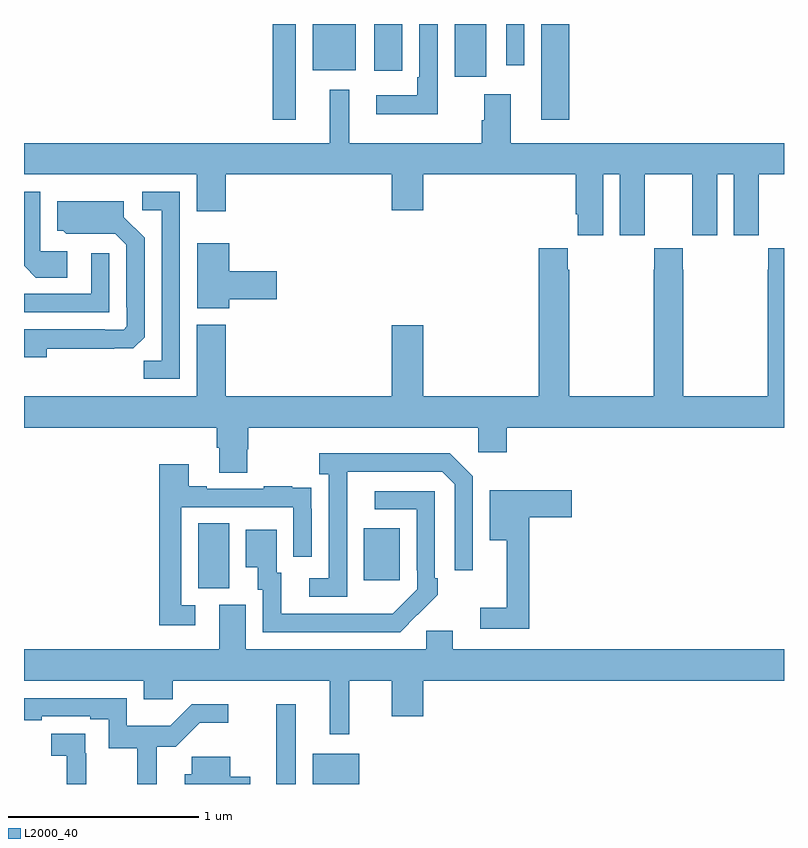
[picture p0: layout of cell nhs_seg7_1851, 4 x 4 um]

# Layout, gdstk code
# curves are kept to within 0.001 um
import gdstk
lib = gdstk.Library(unit=1e-6, precision=1e-09)
def R(c, l, rs):  # rectangles x0, y0, x1, y1
    for r in rs: c.add(gdstk.rectangle(r[:2], r[2:], *l))
def P(c, l, *ps):  # polygons
    for p in ps: c.add(gdstk.Polygon(p, *l))
L2000_40 = (2000, 40)

nhs_seg7_1851 = lib.new_cell('nhs_seg7_1851')
R(nhs_seg7_1851, L2000_40, [(236.327,1072,236.431,1072.42), (236.519,1072,236.764,1072.159), (235.916,1073.029,236.08,1073.372), (236.789,1073.073,236.977,1073.347), (236.31,1075.497,236.431,1076), (237.722,1075.497,237.869,1076), (237.266,1075.722,237.433,1076), (236.843,1075.755,236.992,1076), (236.519,1075.757,236.746,1076), (237.537,1075.782,237.633,1076)])
P(nhs_seg7_1851, L2000_40, [(237.177,1076),(237.081,1076),(237.081,1075.72),(237.069,1075.72),(237.069,1075.624),(236.853,1075.624),(236.853,1075.526),(237.177,1075.526)],
  [(238.048,1075.208),(238.136,1075.208),(238.136,1074.888),(238.266,1074.888),(238.266,1075),(238.267,1075),(238.267,1075.208),(238.517,1075.208),(238.517,1075),(238.518,1075),(238.518,1074.888),(238.648,1074.888),(238.648,1075.208),(238.736,1075.208),(238.736,1074.888),(238.866,1074.888),(238.866,1075),(238.867,1075),(238.867,1075.208),(239,1075.208),(239,1075.372),(237.562,1075.372),(237.562,1075.63),(237.422,1075.63),(237.422,1075.493),(237.41,1075.493),(237.41,1075.372),(236.713,1075.372),(236.713,1075.654),(236.609,1075.654),(236.609,1075.372),(235,1075.372),(235,1075.208),(235.91,1075.208),(235.91,1075.014),(236.063,1075.014),(236.063,1075.208),(236.936,1075.208),(236.936,1075.02),(237.1,1075.02),(237.1,1075.208),(237.905,1075.208),(237.905,1075),(237.914,1075),(237.914,1074.888),(238.048,1074.888)],
  [(235.821,1075.116),(235.623,1075.116),(235.623,1075.02),(235.725,1075.02),(235.725,1074.227),(235.63,1074.227),(235.63,1074.132),(235.821,1074.132)],
  [(235.228,1074.804),(235.086,1074.804),(235.086,1075.116),(235,1075.116),(235,1074.727),(235.063,1074.664),(235.228,1074.664)],
  [(235.119,1074.292),(235.576,1074.293),(235.635,1074.352),(235.635,1074.874),(235.525,1074.984),(235.525,1075.066),(235.175,1075.066),(235.175,1074.912),(235.206,1074.912),(235.222,1074.896),(235.479,1074.897),(235.539,1074.837),(235.539,1074.508),(235.542,1074.508),(235.542,1074.408),(235.524,1074.39),(235.424,1074.39),(235.424,1074.393),(235,1074.393),(235,1074.246),(235.119,1074.246)],
  [(236.08,1074.551),(236.329,1074.551),(236.329,1074.698),(236.08,1074.698),(236.08,1074.847),(235.913,1074.847),(235.913,1074.503),(236.08,1074.503)],
  [(236.175,1073.763),(236.18,1073.763),(236.18,1073.876),(237.39,1073.876),(237.39,1073.745),(237.542,1073.745),(237.542,1073.876),(239,1073.876),(239,1074.82),(238.917,1074.82),(238.917,1074.707),(238.915,1074.707),(238.915,1074.04),(238.47,1074.04),(238.47,1074.707),(238.467,1074.707),(238.467,1074.82),(238.317,1074.82),(238.317,1074.707),(238.315,1074.707),(238.315,1074.04),(237.87,1074.04),(237.87,1074.707),(237.863,1074.707),(237.863,1074.82),(237.71,1074.82),(237.71,1074.04),(237.1,1074.04),(237.1,1074.415),(236.936,1074.415),(236.936,1074.04),(236.063,1074.04),(236.063,1074.418),(235.91,1074.418),(235.91,1074.04),(235,1074.04),(235,1073.876),(236.015,1073.876),(236.015,1073.77),(236.027,1073.77),(236.027,1073.638),(236.175,1073.638)],
  [(235.449,1074.793),(235.353,1074.793),(235.353,1074.579),(235,1074.579),(235,1074.483),(235.449,1074.483)],
  [(236.7,1073.443),(236.701,1073.643),(237.201,1073.643),(237.267,1073.577),(237.267,1073.124),(237.363,1073.124),(237.363,1073.619),(237.242,1073.74),(236.553,1073.74),(236.553,1073.63),(236.604,1073.63),(236.604,1073.082),(236.502,1073.082),(236.502,1072.986),(236.7,1072.986)],
  [(235.9,1072.941),(235.827,1072.941),(235.827,1073.457),(236.418,1073.457),(236.418,1073.196),(236.514,1073.196),(236.514,1073.45),(236.513,1073.45),(236.513,1073.559),(236.411,1073.559),(236.411,1073.566),(236.263,1073.566),(236.263,1073.553),(235.963,1073.553),(235.963,1073.566),(235.867,1073.566),(235.867,1073.683),(235.711,1073.683),(235.711,1072.836),(235.9,1072.836)],
  [(237.659,1073.405),(237.883,1073.405),(237.883,1073.547),(237.452,1073.547),(237.452,1073.282),(237.542,1073.282),(237.542,1072.927),(237.402,1072.927),(237.402,1072.818),(237.659,1072.818)],
  [(237.071,1072.891),(237.072,1072.89),(237.177,1072.995),(237.177,1073.083),(237.162,1073.083),(237.162,1073.541),(236.847,1073.541),(236.847,1073.445),(237.066,1073.445),(237.066,1073.125),(237.069,1073.125),(237.069,1073.025),(236.941,1072.897),(236.353,1072.896),(236.353,1073.112),(236.329,1073.112),(236.329,1073.338),(236.168,1073.338),(236.168,1073.141),(236.231,1073.141),(236.231,1073.022),(236.256,1073.022),(236.256,1072.8),(236.98,1072.8)],
  [(236.713,1072.544),(236.936,1072.544),(236.936,1072.356),(237.1,1072.356),(237.1,1072.544),(239,1072.544),(239,1072.708),(237.256,1072.708),(237.256,1072.806),(237.117,1072.806),(237.117,1072.708),(236.167,1072.708),(236.167,1072.944),(236.027,1072.944),(236.027,1072.708),(235,1072.708),(235,1072.544),(235.631,1072.544),(235.631,1072.446),(235.783,1072.446),(235.783,1072.544),(236.609,1072.544),(236.609,1072.263),(236.713,1072.263)],
  [(235.699,1072.197),(235.799,1072.197),(235.925,1072.322),(236.074,1072.322),(236.074,1072.419),(235.884,1072.419),(235.771,1072.306),(235.542,1072.306),(235.542,1072.452),(235,1072.452),(235,1072.336),(235.093,1072.336),(235.093,1072.356),(235.349,1072.356),(235.349,1072.342),(235.446,1072.342),(235.446,1072.189),(235.597,1072.189),(235.597,1072),(235.699,1072)],
  [(235.328,1072.163),(235.322,1072.163),(235.322,1072.265),(235.143,1072.265),(235.143,1072.15),(235.225,1072.15),(235.225,1072),(235.328,1072)],
  [(236.191,1072.039),(236.086,1072.039),(236.086,1072.144),(235.883,1072.144),(235.883,1072.052),(235.847,1072.052),(235.847,1072),(236.191,1072)])

lib.write_gds('nhs_seg7_1851.gds')
